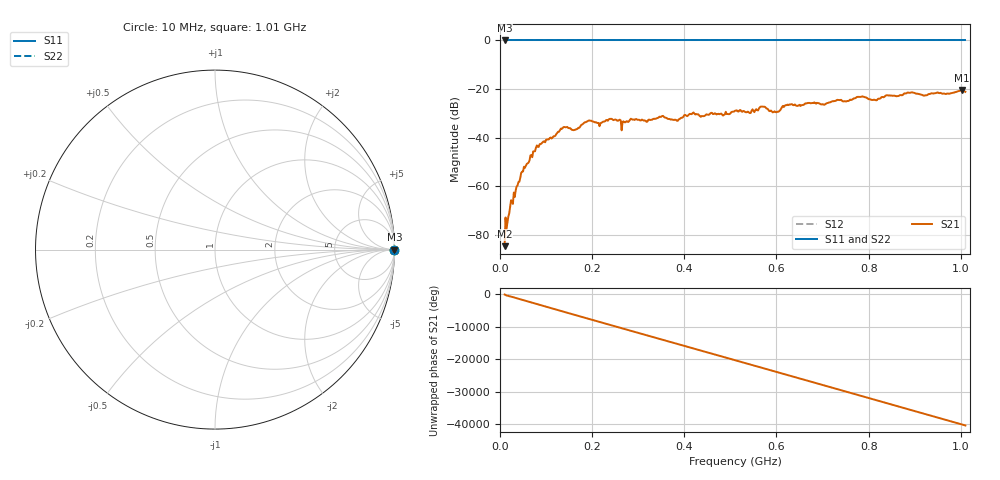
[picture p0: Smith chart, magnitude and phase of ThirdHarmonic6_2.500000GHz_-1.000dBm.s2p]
! 8/17/2025 4:47:29 AM
! C:\ANRITSUVNA\TEMP\TEMP.S2P
! CHANNEL.1
! TR.MEASUREMENT
! RAW.DATA
! RF.CORRECTION.OFF
! AVERAGING.OFF
! IF.BANDWIDTH: 5KHZ
! SWEEPTYPE:  FREQ.SWEEP(Linear)
! Reference Plane Port Info
! PORT:  PORT1  PORT2
! DISTANCE:  0  m  0  m
! TIME:  0  s  0  s
! PHASE.OFFSET:  0  deg.  0  deg.
! LOSS:  0  dB  0  dB
! REF.LOSS:  0  dB  0  dB
! REF.FREQ:  0  Hz  0  Hz
! Power Info
! POWER:  -20  dBm  -20  dBm
! EFF.POWER:  -20  dBm  -20  dBm
! SOURCE.ATTEN:  0  dB  0  dB
! TEST.ATTEN:  0  dB  0  dB
# GHZ S RI R 50.0
! FREQ.GHZ  S11RE  S11IM  S21RE  S21IM  S12RE  S12IM  S22RE  S22IM
!; PortSelection: Port_12
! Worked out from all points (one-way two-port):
!   501 points, 10 MHz to 1.01 GHz, reference 50 ohm
!   highest |S21| = -20.36 dB at 1.002 GHz (marker M1); lowest = -84.6 dB at 10 MHz (marker M2)
!   lowest |S11| = 0.0 dB at 10 MHz (marker M3)
!   |S11| at or under -10 dB: nowhere
!   |S22| runs from 0.0 to 0.0 dB; largest |S21 - S12| = 1.1
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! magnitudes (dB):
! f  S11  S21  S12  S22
! 10 MHz  0.0  -84.6  0.0  0.0
! 26 MHz  0.0  -66.1  0.0  0.0
! 48 MHz  0.0  -53.9  0.0  0.0
! 76 MHz  0.0  -45.6  0.0  0.0
! 136 MHz  0.0  -36.0  0.0  0.0
! 162 MHz  0.0  -36.8  0.0  0.0
! 178 MHz  0.0  -34.6  0.0  0.0
! 194 MHz  0.0  -32.9  0.0  0.0
! 268 MHz  0.0  -33.3  0.0  0.0
! 344 MHz  0.0  -31.7  0.0  0.0
! 382 MHz  0.0  -32.7  0.0  0.0
! 416 MHz  0.0  -30.3  0.0  0.0
! 438 MHz  0.0  -31.1  0.0  0.0
! 510 MHz  0.0  -28.9  0.0  0.0
! 540 MHz  0.0  -29.6  0.0  0.0
! 570 MHz  0.0  -27.2  0.0  0.0
! 602 MHz  0.0  -29.3  0.0  0.0
! 622 MHz  0.0  -26.6  0.0  0.0
! 678 MHz  0.0  -25.7  0.0  0.0
! 844 MHz  0.0  -22.6  0.0  0.0
! 1.002 GHz  0.0  -20.4  0.0  0.0
! 1.01 GHz  0.0  -21.1  0.0  0.0
